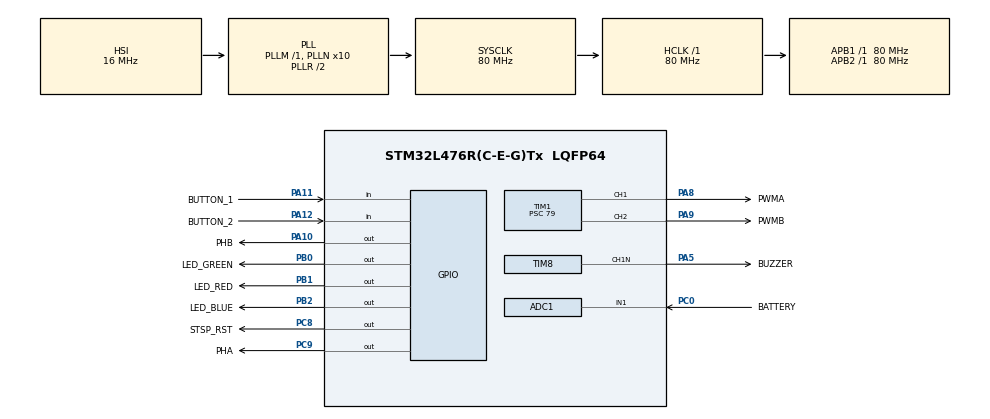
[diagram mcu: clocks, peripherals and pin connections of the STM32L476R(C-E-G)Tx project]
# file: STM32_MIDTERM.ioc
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ADC1.Channel-0\#ChannelRegularConversion=ADC_CHANNEL_1
ADC1.NbrOfConversionFlag=1
ADC1.OffsetNumber-0\#ChannelRegularConversion=ADC_OFFSET_NONE
ADC1.Rank-0\#ChannelRegularConversion=1
ADC1.SamplingTime-0\#ChannelRegularConversion=ADC_SAMPLETIME_2CYCLES_5
ADC1.master=1
Mcu.Family=STM32L4
Mcu.Name=STM32L476R(C-E-G)Tx
Mcu.Package=LQFP64
NVIC.PriorityGroup=NVIC_PRIORITYGROUP_4
PA10.GPIO_Label=PHB
PA10.Signal=GPIO_Output
PA11.GPIO_Label=BUTTON_1
PA11.GPIO_PuPd=GPIO_NOPULL
PA11.Signal=GPIO_Input
PA12.GPIO_Label=BUTTON_2
PA12.GPIO_PuPd=GPIO_NOPULL
PA12.Signal=GPIO_Input
PA13\ (JTMS-SWDIO).Mode=Serial_Wire
PA13\ (JTMS-SWDIO).Signal=SYS_JTMS-SWDIO
PA14\ (JTCK-SWCLK).Mode=Serial_Wire
PA14\ (JTCK-SWCLK).Signal=SYS_JTCK-SWCLK
PA5.GPIO_Label=BUZZER
PA5.Mode=PWM Generation1 CH1N
PA5.Signal=TIM8_CH1N
PA8.GPIO_Label=PWMA
PA8.Signal=S_TIM1_CH1
PA9.GPIO_Label=PWMB
PA9.Signal=S_TIM1_CH2
PB0.GPIO_Label=LED_GREEN
PB0.Signal=GPIO_Output
PB1.GPIO_Label=LED_RED
PB1.Signal=GPIO_Output
PB2.GPIO_Label=LED_BLUE
PB2.Signal=GPIO_Output
PC0.GPIO_Label=BATTERY
PC0.Signal=ADCx_IN1
PC8.GPIO_Label=STSP_RST
PC8.Signal=GPIO_Output
PC9.GPIO_Label=PHA
PC9.Signal=GPIO_Output
ProjectManager.HeapSize=0x200
ProjectManager.StackSize=0x400
ProjectManager.TargetToolchain=MDK-ARM V5.32
RCC.ADCFreq_Value=64000000
RCC.AHBFreq_Value=80000000
RCC.APB1Freq_Value=80000000
RCC.APB1TimFreq_Value=80000000
RCC.APB2Freq_Value=80000000
RCC.APB2TimFreq_Value=80000000
RCC.CortexFreq_Value=80000000
RCC.HCLKFreq_Value=80000000
RCC.HSE_VALUE=8000000
RCC.HSI_VALUE=16000000
RCC.LSE_VALUE=32768
RCC.MSI_VALUE=4000000
RCC.PLLN=10
RCC.PLLSourceVirtual=RCC_PLLSOURCE_HSI
RCC.SYSCLKFreq_VALUE=80000000
RCC.SYSCLKSource=RCC_SYSCLKSOURCE_PLLCLK
RCC.USBFreq_Value=64000000
RCC.VCOOutputFreq_Value=160000000
SH.ADCx_IN1.0=ADC1_IN1,IN1-Single-Ended
SH.S_TIM1_CH1.0=TIM1_CH1,PWM Generation1 CH1
SH.S_TIM1_CH2.0=TIM1_CH2,PWM Generation2 CH2
TIM1.Channel-PWM\ Generation1\ CH1=TIM_CHANNEL_1
TIM1.Channel-PWM\ Generation2\ CH2=TIM_CHANNEL_2
TIM1.Period=999
TIM1.Prescaler=79
TIM8.Channel-PWM\ Generation1\ CH1N=TIM_CHANNEL_1
TIM8.Period=499
TIM8.Prescaler=79
VP_TIM1_VS_ClockSourceINT.Mode=Internal
VP_TIM8_VS_ClockSourceINT.Mode=Internal
board=custom

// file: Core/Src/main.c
/* USER CODE BEGIN Header */
/**
  ******************************************************************************
  * @file           : main.c
  * @brief          : Main program body
  ******************************************************************************
  * @attention
  *
  * Copyright (c) 2026 STMicroelectronics.
  * All rights reserved.
  *
  * This software is licensed under terms that can be found in the LICENSE file
  * in the root directory of this software component.
  * If no LICENSE file comes with this software, it is provided AS-IS.
  *
  ******************************************************************************
  */
/* USER CODE END Header */
#include "main.h"

/* USER CODE BEGIN Includes */
//#include "led_rgb.h"
//#include "button.h"
//#include "buzzer.h"
#include "battery_check.h"
//#include "motor.h"
#include "robot_control.h"
/* USER CODE END Includes */

/* USER CODE BEGIN PTD */
GPIO_TypeDef *led_rgb_ports[] = {LED_GREEN_GPIO_Port, LED_RED_GPIO_Port, LED_BLUE_GPIO_Port};
uint16_t led_rgb_pins[] = {LED_GREEN_Pin, LED_RED_Pin, LED_BLUE_Pin};
LED_RGB Led_rgb;

BUTTON Button_1;

BUZZER Buzzer;

BATTERY Battery;

MOTOR MotorA;
MOTOR MotorB;

ROBOT Robot;
/* USER CODE END PTD */

ADC_HandleTypeDef hadc1;

TIM_HandleTypeDef htim1;
TIM_HandleTypeDef htim8;

/* USER CODE BEGIN PV */
uint8_t count = 0;
/* USER CODE END PV */

void SystemClock_Config(void);
static void MX_GPIO_Init(void);
static void MX_TIM1_Init(void);
static void MX_ADC1_Init(void);
static void MX_TIM8_Init(void);

/* USER CODE BEGIN 0 */
void button_pressing_callback()
{
	count++;
	switch (Robot.robot_state)
	{
		case ROBOT_IDLE:
			robot_idle(&Robot);
			break;
		case ROBOT_READY:
			robot_ready(&Robot);
			break;
		case ROBOT_RUN:
			robot_run(&Robot);
			break;
		default:
			break;
	}
}
/* USER CODE END 0 */

int main(void)

{

  /* MCU Configuration--------------------------------------------------------*/

  /* Reset of all peripherals, Initializes the Flash interface and the Systick. */
  HAL_Init();

  /* Configure the system clock */
  SystemClock_Config();

  /* Initialize all configured peripherals */
  MX_GPIO_Init();
  MX_TIM1_Init();
  MX_ADC1_Init();
  MX_TIM8_Init();
  /* USER CODE BEGIN 2 */
	led_rgb_init(&Led_rgb, led_rgb_ports, led_rgb_pins);

	button_init(&Button_1, BUTTON_1_GPIO_Port, BUTTON_1_Pin);

	buzzer_init(&Buzzer, &htim8, TIM_CHANNEL_1);

	battery_init(&Battery, &hadc1);

	motor_init(&MotorA, &htim1, TIM_CHANNEL_1, STSP_RST_GPIO_Port, STSP_RST_Pin, PHA_GPIO_Port, PHA_Pin);
	motor_init(&MotorB, &htim1, TIM_CHANNEL_2, STSP_RST_GPIO_Port, STSP_RST_Pin, PHB_GPIO_Port, PHB_Pin);

	robot_init(&Robot, &Led_rgb, &Button_1, &Buzzer, &Battery, &MotorA, &MotorB);
	robot_idle(&Robot);

	baterry_check(&Battery);
	show_battery_state(&Battery);
  /* USER CODE END 2 */

  /* Infinite loop */
  while (1)
  {

    /* USER CODE BEGIN 3 */

//
//		buzzer_SetState(&Buzzer, off);
//		buzzer_BeepTick(&Buzzer, 50);
//
		button_handle(&Button_1);
//
//		motor_set_speed(&MotorA, 0);
//		motor_set_speed(&MotorB, 0);

  }
  /* USER CODE END 3 */
}

void SystemClock_Config(void)
{
  RCC_OscInitTypeDef RCC_OscInitStruct = {0};
  RCC_ClkInitTypeDef RCC_ClkInitStruct = {0};

  /** Configure the main internal regulator output voltage
  */
  if (HAL_PWREx_ControlVoltageScaling(PWR_REGULATOR_VOLTAGE_SCALE1) != HAL_OK)
  {
    Error_Handler();
  }

  /** Initializes the RCC Oscillators according to the specified parameters
  * in the RCC_OscInitTypeDef structure.
  */
  RCC_OscInitStruct.OscillatorType = RCC_OSCILLATORTYPE_HSI;
  RCC_OscInitStruct.HSIState = RCC_HSI_ON;
  RCC_OscInitStruct.HSICalibrationValue = RCC_HSICALIBRATION_DEFAULT;
  RCC_OscInitStruct.PLL.PLLState = RCC_PLL_ON;
  RCC_OscInitStruct.PLL.PLLSource = RCC_PLLSOURCE_HSI;
  RCC_OscInitStruct.PLL.PLLM = 1;
  RCC_OscInitStruct.PLL.PLLN = 10;
  RCC_OscInitStruct.PLL.PLLP = RCC_PLLP_DIV7;
  RCC_OscInitStruct.PLL.PLLQ = RCC_PLLQ_DIV2;
  RCC_OscInitStruct.PLL.PLLR = RCC_PLLR_DIV2;
  if (HAL_RCC_OscConfig(&RCC_OscInitStruct) != HAL_OK)
  {
    Error_Handler();
  }

  /** Initializes the CPU, AHB and APB buses clocks
  */
  RCC_ClkInitStruct.ClockType = RCC_CLOCKTYPE_HCLK|RCC_CLOCKTYPE_SYSCLK
                              |RCC_CLOCKTYPE_PCLK1|RCC_CLOCKTYPE_PCLK2;
  RCC_ClkInitStruct.SYSCLKSource = RCC_SYSCLKSOURCE_PLLCLK;
  RCC_ClkInitStruct.AHBCLKDivider = RCC_SYSCLK_DIV1;
  RCC_ClkInitStruct.APB1CLKDivider = RCC_HCLK_DIV1;
  RCC_ClkInitStruct.APB2CLKDivider = RCC_HCLK_DIV1;

  if (HAL_RCC_ClockConfig(&RCC_ClkInitStruct, FLASH_LATENCY_4) != HAL_OK)
  {
    Error_Handler();
  }
}

static void MX_ADC1_Init(void)
{

  ADC_MultiModeTypeDef multimode = {0};
  ADC_ChannelConfTypeDef sConfig = {0};

  /** Common config
  */
  hadc1.Instance = ADC1;
  hadc1.Init.ClockPrescaler = ADC_CLOCK_ASYNC_DIV1;
  hadc1.Init.Resolution = ADC_RESOLUTION_12B;
  hadc1.Init.DataAlign = ADC_DATAALIGN_RIGHT;
  hadc1.Init.ScanConvMode = ADC_SCAN_DISABLE;
  hadc1.Init.EOCSelection = ADC_EOC_SINGLE_CONV;
  hadc1.Init.LowPowerAutoWait = DISABLE;
  hadc1.Init.ContinuousConvMode = DISABLE;
  hadc1.Init.NbrOfConversion = 1;
  hadc1.Init.DiscontinuousConvMode = DISABLE;
  hadc1.Init.ExternalTrigConv = ADC_SOFTWARE_START;
  hadc1.Init.ExternalTrigConvEdge = ADC_EXTERNALTRIGCONVEDGE_NONE;
  hadc1.Init.DMAContinuousRequests = DISABLE;
  hadc1.Init.Overrun = ADC_OVR_DATA_PRESERVED;
  hadc1.Init.OversamplingMode = DISABLE;
  if (HAL_ADC_Init(&hadc1) != HAL_OK)
  {
    Error_Handler();
  }

  /** Configure the ADC multi-mode
  */
  multimode.Mode = ADC_MODE_INDEPENDENT;
  if (HAL_ADCEx_MultiModeConfigChannel(&hadc1, &multimode) != HAL_OK)
  {
    Error_Handler();
  }

  /** Configure Regular Channel
  */
  sConfig.Channel = ADC_CHANNEL_1;
  sConfig.Rank = ADC_REGULAR_RANK_1;
  sConfig.SamplingTime = ADC_SAMPLETIME_2CYCLES_5;
  sConfig.SingleDiff = ADC_SINGLE_ENDED;
  sConfig.OffsetNumber = ADC_OFFSET_NONE;
  sConfig.Offset = 0;
  if (HAL_ADC_ConfigChannel(&hadc1, &sConfig) != HAL_OK)
  {
    Error_Handler();
  }

}

static void MX_TIM1_Init(void)
{

  TIM_ClockConfigTypeDef sClockSourceConfig = {0};
  TIM_MasterConfigTypeDef sMasterConfig = {0};
  TIM_OC_InitTypeDef sConfigOC = {0};
  TIM_BreakDeadTimeConfigTypeDef sBreakDeadTimeConfig = {0};

  htim1.Instance = TIM1;
  htim1.Init.Prescaler = 79;
  htim1.Init.CounterMode = TIM_COUNTERMODE_UP;
  htim1.Init.Period = 999;
  htim1.Init.ClockDivision = TIM_CLOCKDIVISION_DIV1;
  htim1.Init.RepetitionCounter = 0;
  htim1.Init.AutoReloadPreload = TIM_AUTORELOAD_PRELOAD_DISABLE;
  if (HAL_TIM_Base_Init(&htim1) != HAL_OK)
  {
    Error_Handler();
  }
  sClockSourceConfig.ClockSource = TIM_CLOCKSOURCE_INTERNAL;
  if (HAL_TIM_ConfigClockSource(&htim1, &sClockSourceConfig) != HAL_OK)
  {
    Error_Handler();
  }
  if (HAL_TIM_PWM_Init(&htim1) != HAL_OK)
  {
    Error_Handler();
  }
  sMasterConfig.MasterOutputTrigger = TIM_TRGO_RESET;
  sMasterConfig.MasterOutputTrigger2 = TIM_TRGO2_RESET;
  sMasterConfig.MasterSlaveMode = TIM_MASTERSLAVEMODE_DISABLE;
  if (HAL_TIMEx_MasterConfigSynchronization(&htim1, &sMasterConfig) != HAL_OK)
  {
    Error_Handler();
  }
  sConfigOC.OCMode = TIM_OCMODE_PWM1;
  sConfigOC.Pulse = 0;
  sConfigOC.OCPolarity = TIM_OCPOLARITY_HIGH;
  sConfigOC.OCNPolarity = TIM_OCNPOLARITY_HIGH;
  sConfigOC.OCFastMode = TIM_OCFAST_DISABLE;
  sConfigOC.OCIdleState = TIM_OCIDLESTATE_RESET;
  sConfigOC.OCNIdleState = TIM_OCNIDLESTATE_RESET;
  if (HAL_TIM_PWM_ConfigChannel(&htim1, &sConfigOC, TIM_CHANNEL_1) != HAL_OK)
  {
    Error_Handler();
  }
  if (HAL_TIM_PWM_ConfigChannel(&htim1, &sConfigOC, TIM_CHANNEL_2) != HAL_OK)
  {
    Error_Handler();
  }
  sBreakDeadTimeConfig.OffStateRunMode = TIM_OSSR_DISABLE;
  sBreakDeadTimeConfig.OffStateIDLEMode = TIM_OSSI_DISABLE;
  sBreakDeadTimeConfig.LockLevel = TIM_LOCKLEVEL_OFF;
  sBreakDeadTimeConfig.DeadTime = 0;
  sBreakDeadTimeConfig.BreakState = TIM_BREAK_DISABLE;
  sBreakDeadTimeConfig.BreakPolarity = TIM_BREAKPOLARITY_HIGH;
  sBreakDeadTimeConfig.BreakFilter = 0;
  sBreakDeadTimeConfig.Break2State = TIM_BREAK2_DISABLE;
  sBreakDeadTimeConfig.Break2Polarity = TIM_BREAK2POLARITY_HIGH;
  sBreakDeadTimeConfig.Break2Filter = 0;
  sBreakDeadTimeConfig.AutomaticOutput = TIM_AUTOMATICOUTPUT_DISABLE;
  if (HAL_TIMEx_ConfigBreakDeadTime(&htim1, &sBreakDeadTimeConfig) != HAL_OK)
  {
    Error_Handler();
  }
  HAL_TIM_MspPostInit(&htim1);

}

static void MX_TIM8_Init(void)
{

  TIM_ClockConfigTypeDef sClockSourceConfig = {0};
  TIM_MasterConfigTypeDef sMasterConfig = {0};
  TIM_OC_InitTypeDef sConfigOC = {0};
  TIM_BreakDeadTimeConfigTypeDef sBreakDeadTimeConfig = {0};

  htim8.Instance = TIM8;
  htim8.Init.Prescaler = 79;
  htim8.Init.CounterMode = TIM_COUNTERMODE_UP;
  htim8.Init.Period = 499;
  htim8.Init.ClockDivision = TIM_CLOCKDIVISION_DIV1;
  htim8.Init.RepetitionCounter = 0;
  htim8.Init.AutoReloadPreload = TIM_AUTORELOAD_PRELOAD_DISABLE;
  if (HAL_TIM_Base_Init(&htim8) != HAL_OK)
  {
    Error_Handler();
  }
  sClockSourceConfig.ClockSource = TIM_CLOCKSOURCE_INTERNAL;
  if (HAL_TIM_ConfigClockSource(&htim8, &sClockSourceConfig) != HAL_OK)
  {
    Error_Handler();
  }
  if (HAL_TIM_PWM_Init(&htim8) != HAL_OK)
  {
    Error_Handler();
  }
  sMasterConfig.MasterOutputTrigger = TIM_TRGO_RESET;
  sMasterConfig.MasterOutputTrigger2 = TIM_TRGO2_RESET;
  sMasterConfig.MasterSlaveMode = TIM_MASTERSLAVEMODE_DISABLE;
  if (HAL_TIMEx_MasterConfigSynchronization(&htim8, &sMasterConfig) != HAL_OK)
  {
    Error_Handler();
  }
  sConfigOC.OCMode = TIM_OCMODE_PWM1;
  sConfigOC.Pulse = 0;
  sConfigOC.OCPolarity = TIM_OCPOLARITY_HIGH;
  sConfigOC.OCNPolarity = TIM_OCNPOLARITY_HIGH;
  sConfigOC.OCFastMode = TIM_OCFAST_DISABLE;
  sConfigOC.OCIdleState = TIM_OCIDLESTATE_RESET;
  sConfigOC.OCNIdleState = TIM_OCNIDLESTATE_RESET;
  if (HAL_TIM_PWM_ConfigChannel(&htim8, &sConfigOC, TIM_CHANNEL_1) != HAL_OK)
  {
    Error_Handler();
  }
  sBreakDeadTimeConfig.OffStateRunMode = TIM_OSSR_DISABLE;
  sBreakDeadTimeConfig.OffStateIDLEMode = TIM_OSSI_DISABLE;
  sBreakDeadTimeConfig.LockLevel = TIM_LOCKLEVEL_OFF;
  sBreakDeadTimeConfig.DeadTime = 0;
  sBreakDeadTimeConfig.BreakState = TIM_BREAK_DISABLE;
  sBreakDeadTimeConfig.BreakPolarity = TIM_BREAKPOLARITY_HIGH;
  sBreakDeadTimeConfig.BreakFilter = 0;
  sBreakDeadTimeConfig.Break2State = TIM_BREAK2_DISABLE;
  sBreakDeadTimeConfig.Break2Polarity = TIM_BREAK2POLARITY_HIGH;
  sBreakDeadTimeConfig.Break2Filter = 0;
  sBreakDeadTimeConfig.AutomaticOutput = TIM_AUTOMATICOUTPUT_DISABLE;
  if (HAL_TIMEx_ConfigBreakDeadTime(&htim8, &sBreakDeadTimeConfig) != HAL_OK)
  {
    Error_Handler();
  }
  HAL_TIM_MspPostInit(&htim8);

}

static void MX_GPIO_Init(void)
{
  GPIO_InitTypeDef GPIO_InitStruct = {0};

  /* GPIO Ports Clock Enable */
  __HAL_RCC_GPIOC_CLK_ENABLE();
  __HAL_RCC_GPIOA_CLK_ENABLE();
  __HAL_RCC_GPIOB_CLK_ENABLE();

  /*Configure GPIO pin Output Level */
  HAL_GPIO_WritePin(GPIOB, LED_GREEN_Pin|LED_RED_Pin|LED_BLUE_Pin, GPIO_PIN_RESET);

  /*Configure GPIO pin Output Level */
  HAL_GPIO_WritePin(GPIOC, STSP_RST_Pin|PHA_Pin, GPIO_PIN_RESET);

  /*Configure GPIO pin Output Level */
  HAL_GPIO_WritePin(PHB_GPIO_Port, PHB_Pin, GPIO_PIN_RESET);

  /*Configure GPIO pins : LED_GREEN_Pin LED_RED_Pin LED_BLUE_Pin */
  GPIO_InitStruct.Pin = LED_GREEN_Pin|LED_RED_Pin|LED_BLUE_Pin;
  GPIO_InitStruct.Mode = GPIO_MODE_OUTPUT_PP;
  GPIO_InitStruct.Pull = GPIO_NOPULL;
  GPIO_InitStruct.Speed = GPIO_SPEED_FREQ_LOW;
  HAL_GPIO_Init(GPIOB, &GPIO_InitStruct);

  /*Configure GPIO pins : STSP_RST_Pin PHA_Pin */
  GPIO_InitStruct.Pin = STSP_RST_Pin|PHA_Pin;
  GPIO_InitStruct.Mode = GPIO_MODE_OUTPUT_PP;
  GPIO_InitStruct.Pull = GPIO_NOPULL;
  GPIO_InitStruct.Speed = GPIO_SPEED_FREQ_LOW;
  HAL_GPIO_Init(GPIOC, &GPIO_InitStruct);

  /*Configure GPIO pin : PHB_Pin */
  GPIO_InitStruct.Pin = PHB_Pin;
  GPIO_InitStruct.Mode = GPIO_MODE_OUTPUT_PP;
  GPIO_InitStruct.Pull = GPIO_NOPULL;
  GPIO_InitStruct.Speed = GPIO_SPEED_FREQ_LOW;
  HAL_GPIO_Init(PHB_GPIO_Port, &GPIO_InitStruct);

  /*Configure GPIO pins : BUTTON_1_Pin BUTTON_2_Pin */
  GPIO_InitStruct.Pin = BUTTON_1_Pin|BUTTON_2_Pin;
  GPIO_InitStruct.Mode = GPIO_MODE_INPUT;
  GPIO_InitStruct.Pull = GPIO_NOPULL;
  HAL_GPIO_Init(GPIOA, &GPIO_InitStruct);

}

void Error_Handler(void)
{
  __disable_irq();
  while (1)
  {
  }
}
